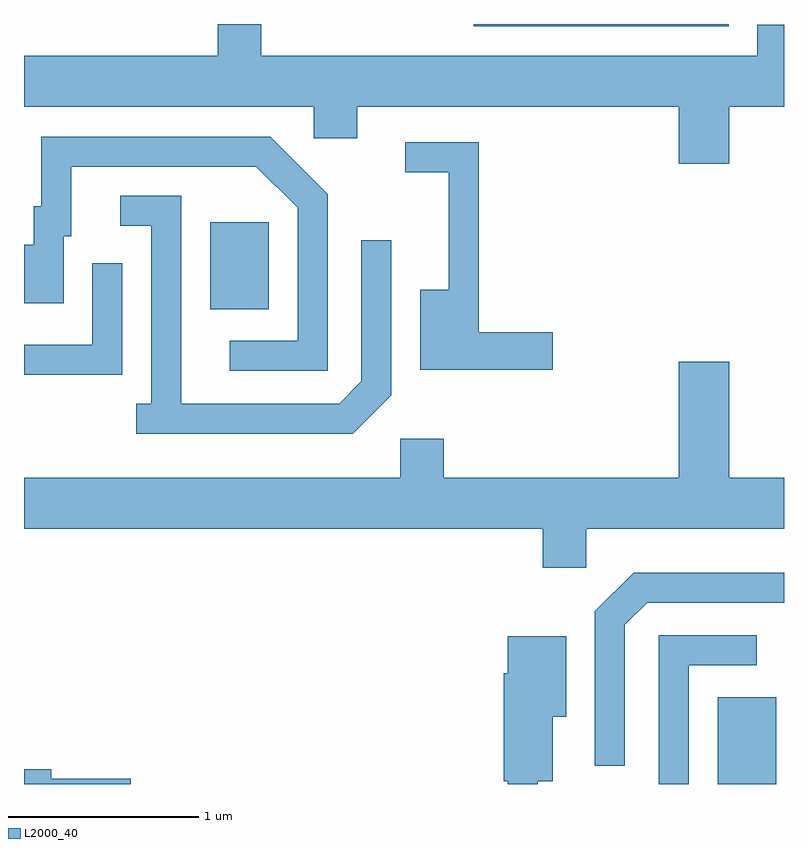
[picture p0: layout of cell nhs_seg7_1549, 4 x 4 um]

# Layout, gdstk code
import gdstk
lib = gdstk.Library(unit=1e-6, precision=1e-09)
def R(c, l, rs):  # rectangles x0, y0, x1, y1
    for r in rs: c.add(gdstk.rectangle(r[:2], r[2:], *l))
def P(c, l, *ps):  # polygons
    for p in ps: c.add(gdstk.Polygon(p, *l))
L2000_40 = (2000, 40)

nhs_seg7_1549 = lib.new_cell('nhs_seg7_1549')
R(nhs_seg7_1549, L2000_40, [(235.261,1766.252,235.569,1766.709), (232.591,1768.751,232.899,1769.209), (233.978,1770.241,235.319,1770.252)])
P(nhs_seg7_1549, L2000_40, [(235.324,1769.816),(235.611,1769.816),(235.611,1770.249),(235.471,1770.249),(235.471,1770.084),(232.859,1770.084),(232.859,1770.252),(232.631,1770.252),(232.631,1770.084),(231.611,1770.084),(231.611,1769.816),(233.136,1769.816),(233.136,1769.651),(233.364,1769.651),(233.364,1769.816),(235.056,1769.816),(235.056,1769.516),(235.324,1769.516)],
  [(233.209,1769.357),(232.907,1769.659),(231.701,1769.659),(231.701,1769.294),(231.661,1769.294),(231.661,1769.089),(231.611,1769.089),(231.611,1768.781),(231.819,1768.781),(231.819,1769.136),(231.859,1769.136),(231.859,1769.501),(232.834,1769.501),(233.051,1769.284),(233.051,1768.584),(232.693,1768.584),(232.693,1768.426),(233.209,1768.426)],
  [(234.394,1768.629),(234.004,1768.629),(234.004,1769.629),(233.618,1769.629),(233.618,1769.471),(233.846,1769.471),(233.846,1768.854),(233.696,1768.854),(233.696,1768.431),(234.394,1768.431)],
  [(233.544,1768.299),(233.544,1769.113),(233.386,1769.113),(233.386,1768.372),(233.269,1768.254),(232.439,1768.254),(232.439,1769.349),(232.118,1769.349),(232.118,1769.191),(232.281,1769.191),(232.281,1768.254),(232.203,1768.254),(232.203,1768.096),(233.342,1768.096)],
  [(232.129,1768.993),(231.971,1768.993),(231.971,1768.564),(231.611,1768.564),(231.611,1768.406),(232.129,1768.406)],
  [(234.569,1767.596),(235.611,1767.596),(235.611,1767.864),(235.324,1767.864),(235.324,1768.474),(235.056,1768.474),(235.056,1767.864),(233.819,1767.864),(233.819,1768.069),(233.591,1768.069),(233.591,1767.864),(231.611,1767.864),(231.611,1767.596),(234.341,1767.596),(234.341,1767.391),(234.569,1767.391)],
  [(234.774,1767.089),(234.892,1767.206),(235.611,1767.206),(235.611,1767.364),(234.819,1767.364),(234.616,1767.162),(234.616,1766.348),(234.774,1766.348)],
  [(235.109,1766.876),(235.468,1766.876),(235.468,1767.034),(234.951,1767.034),(234.951,1766.252),(235.109,1766.252)],
  [(234.314,1766.266),(234.394,1766.266),(234.394,1766.606),(234.464,1766.606),(234.464,1767.029),(234.156,1767.029),(234.156,1766.834),(234.136,1766.834),(234.136,1766.266),(234.156,1766.266),(234.156,1766.252),(234.314,1766.252)],
  [(232.174,1766.279),(231.754,1766.279),(231.754,1766.329),(231.611,1766.329),(231.611,1766.252),(232.174,1766.252)])

lib.write_gds('nhs_seg7_1549.gds')
